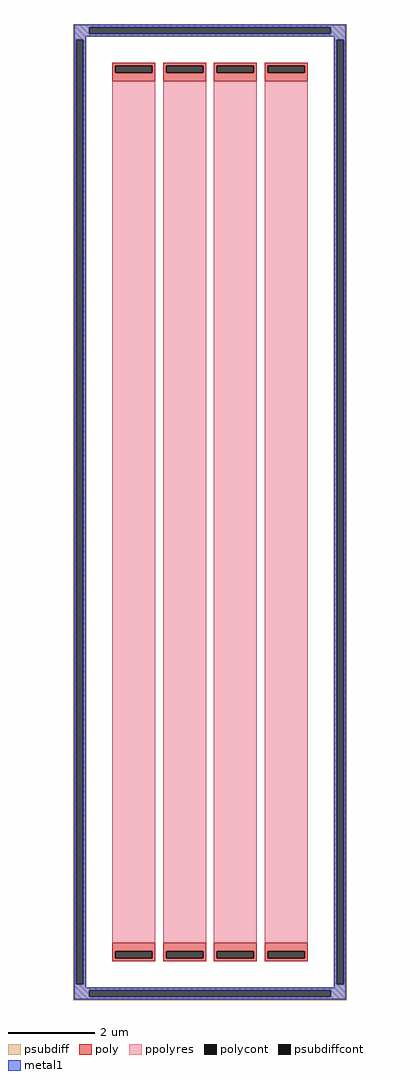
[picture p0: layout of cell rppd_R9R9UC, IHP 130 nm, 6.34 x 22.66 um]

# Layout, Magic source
magic
tech ihp-sg13g2
<< psubdiff >>
rect -140 1126 494 1133
rect -140 1110 -103 1126
rect 457 1110 494 1126
rect -140 1103 494 1110
rect -140 1096 -110 1103
rect -140 -1096 -133 1096
rect -117 -1096 -110 1096
rect 464 1096 494 1103
rect -140 -1103 -110 -1096
rect 464 -1096 471 1096
rect 487 -1096 494 1096
rect 464 -1103 494 -1096
rect -140 -1110 494 -1103
rect -140 -1126 -103 -1110
rect 457 -1126 494 -1110
rect -140 -1133 494 -1126
<< psubdiffcont >>
rect -103 1110 457 1126
rect -133 -1096 -117 1096
rect 471 -1096 487 1096
rect -103 -1126 457 -1110
<< poly >>
rect -50 1036 50 1043
rect -50 1020 -43 1036
rect 43 1020 50 1036
rect -50 1000 50 1020
rect -50 -1020 50 -1000
rect -50 -1036 -43 -1020
rect 43 -1036 50 -1020
rect -50 -1043 50 -1036
rect 68 1036 168 1043
rect 68 1020 75 1036
rect 161 1020 168 1036
rect 68 1000 168 1020
rect 68 -1020 168 -1000
rect 68 -1036 75 -1020
rect 161 -1036 168 -1020
rect 68 -1043 168 -1036
rect 186 1036 286 1043
rect 186 1020 193 1036
rect 279 1020 286 1036
rect 186 1000 286 1020
rect 186 -1020 286 -1000
rect 186 -1036 193 -1020
rect 279 -1036 286 -1020
rect 186 -1043 286 -1036
rect 304 1036 404 1043
rect 304 1020 311 1036
rect 397 1020 404 1036
rect 304 1000 404 1020
rect 304 -1020 404 -1000
rect 304 -1036 311 -1020
rect 397 -1036 404 -1020
rect 304 -1043 404 -1036
<< polycont >>
rect -43 1020 43 1036
rect -43 -1036 43 -1020
rect 75 1020 161 1036
rect 75 -1036 161 -1020
rect 193 1020 279 1036
rect 193 -1036 279 -1020
rect 311 1020 397 1036
rect 311 -1036 397 -1020
<< ppolyres >>
rect -50 -1000 50 1000
rect 68 -1000 168 1000
rect 186 -1000 286 1000
rect 304 -1000 404 1000
<< metal1 >>
rect -138 1126 492 1131
rect -138 1110 -103 1126
rect 457 1110 492 1126
rect -138 1105 492 1110
rect -138 1096 -112 1105
rect -138 -1096 -133 1096
rect -117 -1096 -112 1096
rect 466 1096 492 1105
rect -138 -1105 -112 -1096
rect 466 -1096 471 1096
rect 487 -1096 492 1096
rect 466 -1105 492 -1096
rect -138 -1110 492 -1105
rect -138 -1126 -103 -1110
rect 457 -1126 492 -1110
rect -138 -1131 492 -1126
<< properties >>
string gencell rppd
string library sg13g2_devstdin
string parameters w 1 l 20 nx 4 dx 0.18 ny 1 dy 0.18 wmin 0.50 lmin 0.50 class resistor endcov 0 glc 1 grc 1 gtc 1 gbc 1
<< end >>
